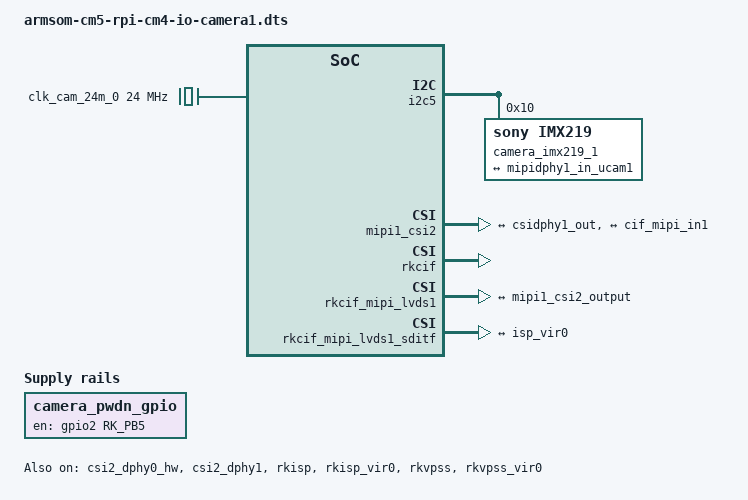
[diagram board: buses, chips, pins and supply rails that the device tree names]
/dts-v1/;
/plugin/;

#include <dt-bindings/clock/rockchip,rk3576-cru.h>
#include <dt-bindings/power/rk3576-power.h>
#include <dt-bindings/gpio/gpio.h>
#include <dt-bindings/pinctrl/rockchip.h>

/ {
	fragment@0 {
		target-path = "/";

		__overlay__ {
			camera_pwdn_gpio: camera-pwdn-gpio {
                compatible = "regulator-fixed";
                regulator-name = "camera_pwdn_gpio";
                regulator-always-on;
                regulator-boot-on;
                enable-active-high;
                gpio = <&gpio2 RK_PB5 GPIO_ACTIVE_HIGH>;
                pinctrl-names = "default";
                pinctrl-0 = <&cam_pwdn_gpio>;
            };

			clk_cam_24m_0: external-camera-clock-24m-0 {
                compatible = "fixed-clock";
                clock-frequency = <24000000>;
                clock-output-names = "clk_cam_24m_0";
                #clock-cells = <0>;
            };
        };
    };

	fragment@1 {
		target = <&i2c5>;

		__overlay__ {
			status = "okay";
            pinctrl-0 = <&i2c5m3_xfer>;
            #address-cells = <1>;
            #size-cells = <0>;

			camera_imx219_1: camera-imx219-1@10 {
                compatible = "sony,imx219";
                reg = <0x10>;

                clocks = <&clk_cam_24m_0>;
                clock-names = "xvclk";

                rockchip,camera-module-index = <1>;
                rockchip,camera-module-facing = "front";
                rockchip,camera-module-name = "rpi-camera-v2";
                rockchip,camera-module-lens-name = "default";

                port {
                    imx219_out1: endpoint {
                        remote-endpoint = <&mipidphy1_in_ucam1>;
                        data-lanes = <1 2>;
                    };
                };
            };
		};
	};

    fragment@2 {
		target = <&csi2_dphy0_hw>;

		__overlay__ {
			status = "okay";
		};
	};



	fragment@3 {
		target = <&csi2_dphy1>;

		__overlay__ {
			status = "okay";

			ports {
                #address-cells = <1>;
                #size-cells = <0>;

                port@0 {
                    reg = <0>;
                    #address-cells = <1>;
                    #size-cells = <0>;

                    mipidphy1_in_ucam1: endpoint@2 {
                        reg = <2>;
                        remote-endpoint = <&imx219_out1>;
                        data-lanes = <1 2>;
                    };
                };

                port@1 {
                    reg = <1>;
                    #address-cells = <1>;
                    #size-cells = <0>;

                    csidphy1_out: endpoint@0 {
                        reg = <0>;
                        remote-endpoint = <&mipi1_csi2_input>;
                    };
                };
            };
		};
	};

	fragment@4 {
		target = <&mipi1_csi2>;

		__overlay__ {
			status = "okay";

			ports {
                #address-cells = <1>;
                #size-cells = <0>;

                port@0 {
                    reg = <0>;
                    #address-cells = <1>;
                    #size-cells = <0>;

                    mipi1_csi2_input: endpoint@1 {
                        reg = <1>;
                        remote-endpoint = <&csidphy1_out>;
                    };
                };

                port@1 {
                    reg = <1>;
                    #address-cells = <1>;
                    #size-cells = <0>;

                    mipi1_csi2_output: endpoint@0 {
                        reg = <0>;
                        remote-endpoint = <&cif_mipi_in1>;
                    };
                };
            };
		};
	};

	fragment@5 {
		target = <&rkcif>;

		__overlay__ {
			status = "okay";
		};
	};

	fragment@6 {
		target = <&rkcif_mipi_lvds1>;

		__overlay__ {
			status = "okay";

			port {
                cif_mipi_in1: endpoint {
                remote-endpoint = <&mipi1_csi2_output>;
                };
            };
		};
	};

	fragment@7 {
		target = <&rkcif_mipi_lvds1_sditf>;

		__overlay__ {
			status = "okay";

			port {
                mipi1_lvds_sditf: endpoint {
                    remote-endpoint = <&isp_vir0>;
                };
            };
		};
	};


	fragment@8 {
		target = <&rkcif_mmu>;

		__overlay__ {
			status = "okay";
		};
	};

	fragment@9 {
		target = <&rkisp>;

		__overlay__ {
			status = "okay";
		};
	};

	fragment@10 {
		target = <&rkisp_mmu>;

		__overlay__ {
			status = "okay";
		};
	};

	fragment@11 {
		target = <&rkisp_vir0>;

		__overlay__ {
			status = "okay";

			port {
                #address-cells = <1>;
                #size-cells = <0>;

                isp_vir0: endpoint@0 {
                    reg = <0>;
                    remote-endpoint = <&mipi1_lvds_sditf>;
                };
            };
		};
	};

    fragment@12 {
		target = <&rkvpss>;

		__overlay__ {
			status = "okay";
		};
	};

    fragment@13 {
		target = <&rkvpss_mmu>;

		__overlay__ {
			status = "okay";
		};
	};

    fragment@14 {
		target = <&rkvpss_vir0>;

		__overlay__ {
			status = "okay";
		};
	};

    fragment@15 {
		target = <&pinctrl>;

		__overlay__ {
			camera {
                cam_pwdn_gpio: cam-pwdn-gpio {
                    rockchip,pins = <2 RK_PB5 RK_FUNC_GPIO &pcfg_pull_up>;
                };
            };
		};
	};
	
};
